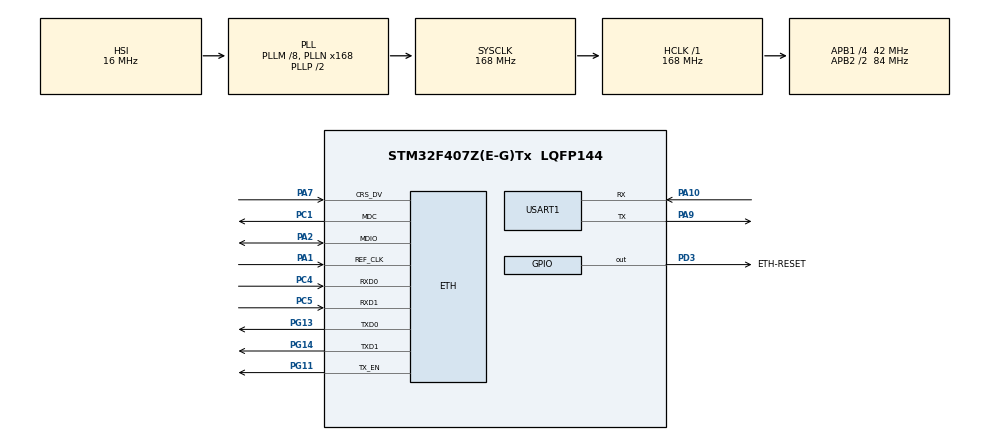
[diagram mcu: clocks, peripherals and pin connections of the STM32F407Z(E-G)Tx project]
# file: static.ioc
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Dma.Request0=USART1_RX
Dma.USART1_RX.0.Direction=DMA_PERIPH_TO_MEMORY
Dma.USART1_RX.0.FIFOMode=DMA_FIFOMODE_DISABLE
Dma.USART1_RX.0.Instance=DMA2_Stream2
Dma.USART1_RX.0.MemDataAlignment=DMA_MDATAALIGN_BYTE
Dma.USART1_RX.0.MemInc=DMA_MINC_ENABLE
Dma.USART1_RX.0.Mode=DMA_CIRCULAR
Dma.USART1_RX.0.PeriphDataAlignment=DMA_PDATAALIGN_BYTE
Dma.USART1_RX.0.PeriphInc=DMA_PINC_DISABLE
Dma.USART1_RX.0.Priority=DMA_PRIORITY_LOW
ETH.MediaInterface=HAL_ETH_RMII_MODE
LWIP.BSP.number=1
LWIP.GATEWAY_ADDRESS=192.168.000.001
LWIP.IP_ADDRESS=192.168.000.100
LWIP.LWIP_DHCP=0
LWIP.NETMASK_ADDRESS=255.255.255.000
LWIP.Version=v2.1.2_Cube
LWIP0.BSP.STBoard=false
LWIP0.BSP.api=BSP_COMPONENT_DRIVER
LWIP0.BSP.component=LAN8742
LWIP0.BSP.instance=LAN8742
LWIP0.BSP.name=Driver_PHY
LWIP0.BSP.semaphore=S_LAN8742
LWIP0.BSP.solution=LAN8742
Mcu.Family=STM32F4
Mcu.Name=STM32F407Z(E-G)Tx
Mcu.Package=LQFP144
NVIC.DMA2_Stream2_IRQn=true\:0\:0\:false\:false\:true\:false\:true\:true
NVIC.PriorityGroup=NVIC_PRIORITYGROUP_4
PA1.Mode=RMII
PA1.Signal=ETH_REF_CLK
PA10.Mode=Asynchronous
PA10.Signal=USART1_RX
PA13.Mode=Serial_Wire
PA13.Signal=SYS_JTMS-SWDIO
PA14.Mode=Serial_Wire
PA14.Signal=SYS_JTCK-SWCLK
PA2.Mode=RMII
PA2.Signal=ETH_MDIO
PA7.Mode=RMII
PA7.Signal=ETH_CRS_DV
PA9.Mode=Asynchronous
PA9.Signal=USART1_TX
PC1.Mode=RMII
PC1.Signal=ETH_MDC
PC4.Mode=RMII
PC4.Signal=ETH_RXD0
PC5.Mode=RMII
PC5.Signal=ETH_RXD1
PD3.GPIO_Label=ETH-RESET
PD3.PinState=GPIO_PIN_SET
PD3.Signal=GPIO_Output
PG11.Mode=RMII
PG11.Signal=ETH_TX_EN
PG13.Mode=RMII
PG13.Signal=ETH_TXD0
PG14.Mode=RMII
PG14.Signal=ETH_TXD1
PH0-OSC_IN.Mode=HSE-External-Oscillator
PH0-OSC_IN.Signal=RCC_OSC_IN
PH1-OSC_OUT.Mode=HSE-External-Oscillator
PH1-OSC_OUT.Signal=RCC_OSC_OUT
ProjectManager.HeapSize=0x200
ProjectManager.StackSize=0x400
ProjectManager.TargetToolchain=MDK-ARM V5.32
RCC.48MHZClocksFreq_Value=84000000
RCC.AHBFreq_Value=168000000
RCC.APB1CLKDivider=RCC_HCLK_DIV4
RCC.APB1Freq_Value=42000000
RCC.APB1TimFreq_Value=84000000
RCC.APB2CLKDivider=RCC_HCLK_DIV2
RCC.APB2Freq_Value=84000000
RCC.APB2TimFreq_Value=168000000
RCC.CortexFreq_Value=168000000
RCC.HCLKFreq_Value=168000000
RCC.HSE_VALUE=25000000
RCC.HSI_VALUE=16000000
RCC.LSE_VALUE=32768
RCC.PLLM=8
RCC.PLLN=168
RCC.SYSCLKFreq_VALUE=168000000
RCC.SYSCLKSource=RCC_SYSCLKSOURCE_PLLCLK
RCC.VCOOutputFreq_Value=336000000
USART1.VirtualMode=VM_ASYNC
VP_LWIP_VS_Enabled.Mode=Enabled
board=custom

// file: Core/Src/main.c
/* USER CODE BEGIN Header */
/**
  ******************************************************************************
  * @file           : main.c
  * @brief          : Main program body
  ******************************************************************************
  * @attention
  *
  * Copyright (c) 2026 STMicroelectronics.
  * All rights reserved.
  *
  * This software is licensed under terms that can be found in the LICENSE file
  * in the root directory of this software component.
  * If no LICENSE file comes with this software, it is provided AS-IS.
  *
  ******************************************************************************
  */
/* USER CODE END Header */
#include "main.h"
#include "dma.h"
#include "lwip.h"
#include "usart.h"
#include "gpio.h"

/* USER CODE BEGIN Includes */
#include <stdio.h>
#include "tcpserver.h"
#include "tcpclient.h"
#include "udp.h"
/* USER CODE END Includes */

void SystemClock_Config(void);
/* USER CODE BEGIN PFP */
extern struct netif gnetif;
struct staticip *staticip;
/* USER CODE END PFP */

int main(void)
{

  /* MCU Configuration--------------------------------------------------------*/

  /* Reset of all peripherals, Initializes the Flash interface and the Systick. */
  HAL_Init();

  /* Configure the system clock */
  SystemClock_Config();

  /* Initialize all configured peripherals */
  MX_GPIO_Init();
  MX_DMA_Init();
  MX_USART1_UART_Init();
  MX_LWIP_Init();
  /* USER CODE BEGIN 2 */
	__HAL_UART_ENABLE_IT(&huart1, UART_IT_IDLE); //使能串UART1 IDLE(空闲)中断
	HAL_UART_Receive_DMA(&huart1, RX1_Buf, DMA_BUF_SIZE); //设置DMA传输，将uart1的数据搬运到RX1_Buf中
		printf("Uart1 init is ok\n");
	/*tcp_server*/
	tcp_server_start(8000);
  tcp_client_start("192.168.0.100", 9001);   /* 改成PC的IP和端口 */
  udp_user_start(9000);
	printf("Static IP address: %s\n", ip4addr_ntoa(&gnetif.ip_addr));
	printf("Subnet mask      : %s\n", ip4addr_ntoa(&gnetif.netmask));
	printf("Default gateway  : %s\n", ip4addr_ntoa(&gnetif.gw));
  /* USER CODE END 2 */

  /* Infinite loop */
  while (1)
  {
     MX_LWIP_Process(); // 收包 + 协议栈超时处理 + 链路检测
  		transfer_data(); //tcp_server回发
		  tcp_client_poll();      /* TCP Client 自动连接 + 回发 */
    udp_transfer_data();    /* UDP 回发 */
  }
}

void SystemClock_Config(void)
{
  RCC_OscInitTypeDef RCC_OscInitStruct = {0};
  RCC_ClkInitTypeDef RCC_ClkInitStruct = {0};

  /** Configure the main internal regulator output voltage
  */
  __HAL_RCC_PWR_CLK_ENABLE();
  __HAL_PWR_VOLTAGESCALING_CONFIG(PWR_REGULATOR_VOLTAGE_SCALE1);

  /** Initializes the RCC Oscillators according to the specified parameters
  * in the RCC_OscInitTypeDef structure.
  */
  RCC_OscInitStruct.OscillatorType = RCC_OSCILLATORTYPE_HSI;
  RCC_OscInitStruct.HSIState = RCC_HSI_ON;
  RCC_OscInitStruct.HSICalibrationValue = RCC_HSICALIBRATION_DEFAULT;
  RCC_OscInitStruct.PLL.PLLState = RCC_PLL_ON;
  RCC_OscInitStruct.PLL.PLLSource = RCC_PLLSOURCE_HSI;
  RCC_OscInitStruct.PLL.PLLM = 8;
  RCC_OscInitStruct.PLL.PLLN = 168;
  RCC_OscInitStruct.PLL.PLLP = RCC_PLLP_DIV2;
  RCC_OscInitStruct.PLL.PLLQ = 4;
  if (HAL_RCC_OscConfig(&RCC_OscInitStruct) != HAL_OK)
  {
    Error_Handler();
  }

  /** Initializes the CPU, AHB and APB buses clocks
  */
  RCC_ClkInitStruct.ClockType = RCC_CLOCKTYPE_HCLK|RCC_CLOCKTYPE_SYSCLK
                              |RCC_CLOCKTYPE_PCLK1|RCC_CLOCKTYPE_PCLK2;
  RCC_ClkInitStruct.SYSCLKSource = RCC_SYSCLKSOURCE_PLLCLK;
  RCC_ClkInitStruct.AHBCLKDivider = RCC_SYSCLK_DIV1;
  RCC_ClkInitStruct.APB1CLKDivider = RCC_HCLK_DIV4;
  RCC_ClkInitStruct.APB2CLKDivider = RCC_HCLK_DIV2;

  if (HAL_RCC_ClockConfig(&RCC_ClkInitStruct, FLASH_LATENCY_5) != HAL_OK)
  {
    Error_Handler();
  }
}

void Error_Handler(void)
{
  __disable_irq();
  while (1)
  {
  }
}
